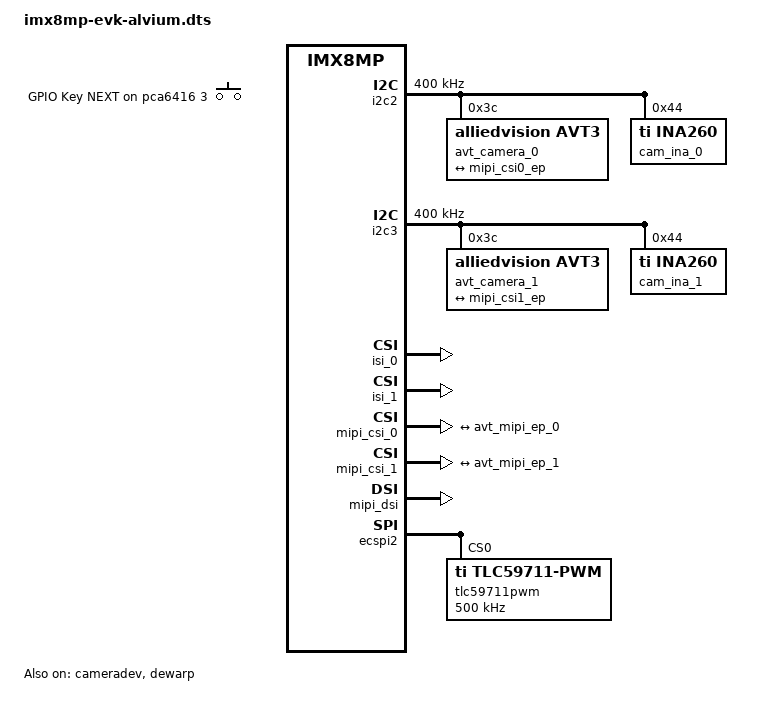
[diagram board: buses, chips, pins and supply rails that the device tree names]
// SPDX-License-Identifier: (GPL-2.0+ OR MIT)
/*
 * Copyright 2020-2021 NXP
 * Copyright 2020-2021 Avnet EMG GmbH                                                                                                                                                                                                                                                                                                                                                                                                                                                                                                                                                           
 *
 * This program is free software; you can redistribute it and/or
 * modify it under the terms of the GNU General Public License
 * as published by the Free Software Foundation; either version 2
 * of the License, or (at your option) any later version.
 *
 * This program is distributed in the hope that it will be useful,
 * but WITHOUT ANY WARRANTY; without even the implied warranty of
 * MERCHANTABILITY or FITNESS FOR A PARTICULAR PURPOSE.  See the
 * GNU General Public License for more details.
 */

#include "imx8mp-evk.dts"

#include "mipi_timing.h"

&i2c2 {
	clock-frequency = <400000>;

	/delete-node/ov5640_mipi@3c;

	avt_camera_0: avt_camera_0@3c {
		compatible = "alliedvision,avt3"; /*"alliedvision,avt_csi2";*/
		reg = <0x3c>;
		pinctrl-names = "default";
		pinctrl-0 = <&pinctrl_csi0_pwn>, <&pinctrl_csi0_rst>, <&pinctrl_csi_mclk>;
		clocks = <&clk IMX8MP_CLK_IPP_DO_CLKO2>;
		clock-names = "csi_mclk";
		assigned-clocks = <&clk IMX8MP_CLK_IPP_DO_CLKO2>;
		assigned-clock-parents = <&clk IMX8MP_CLK_24M>;
		assigned-clock-rates = <24000000>;
		mipi_csi;
		csi_id = <0>;
		/*pwn-gpios = <&gpio2 11 GPIO_ACTIVE_HIGH>;
		rst-gpios = <&gpio1 6 GPIO_ACTIVE_LOW>;*/
		mclk = <24000000>;
		mclk_source = <0>;
		/*powerdown-gpios = <&gpio2 11 GPIO_ACTIVE_HIGH>;
		reset-gpios = <&gpio1 6 GPIO_ACTIVE_LOW>;*/

		bcrm_wait_timeout = <5111>; 
		streamon_delay = <80>; 
		x_force_reset_on_init;

		avt-ignore-yuv420_8_leg_avail;
		avt-ignore-yuv420_8_avail;
		avt-ignore-yuv420_10_avail;
		avt-ignore-yuv420_8_csps_avail;
		avt-ignore-yuv420_10_csps_avail;
		x_avt-ignore-yuv422_8_avail;
		avt-ignore-yuv422_10_avail;
		x_avt-ignore-rgb888_avail;
		avt-ignore-rgb666_avail;
		avt-ignore-rgb565_avail;
		avt-ignore-rgb555_avail;
		avt-ignore-rgb444_avail;
		avt-ignore-raw6_avail;
		avt-ignore-raw7_avail;
		x_avt-ignore-raw8_avail;
		x_avt-ignore-raw10_avail;
		avt-ignore-raw12_avail;
		avt-ignore-raw14_avail;

		status = "okay";

		port {
			avt_mipi_ep_0: endpoint {
				data-lanes = <AVT_CAMERA_DL0 AVT_CAMERA_DL1 AVT_CAMERA_DL2 AVT_CAMERA_DL3>;
				clock-lanes = <0>;
				link-frequencies = /bits/ 64 <AVT_LINK_FREQUENCY>;
				/*max-pixel-frequency = /bits/ 64 <266000000>;*/
				remote-endpoint = <&mipi_csi0_ep>;
			};
		};
	};

	cam_ina_0: power_sensor0@44 {
		compatible = "ti,ina260";
		status = "okay";
		reg = <0x44>;
		shunt-resistor = <0x1194>;
	};
};

&i2c3 {

	clock-frequency = <400000>;
	pinctrl-names = "default";
	pinctrl-0 = <&pinctrl_i2c3>;
	status = "okay";

	/delete-node/ov5640_mipi@3c;

	avt_camera_1@3c {
		status = "okay";
		compatible = "alliedvision,avt3"; /*"alliedvision,avt_csi2";*/
		reg = <0x3c>;
		/*powerdown-gpios = <&gpio2 11 GPIO_ACTIVE_HIGH>;
		reset-gpios = <&gpio1 6 GPIO_ACTIVE_LOW>;*/
		clocks = <&clk IMX8MP_CLK_IPP_DO_CLKO2>;
		clock-names = "csi_mclk";
		assigned-clocks = <&clk IMX8MP_CLK_IPP_DO_CLKO2>;
		assigned-clock-parents = <&clk IMX8MP_CLK_24M>;
		assigned-clock-rates = <24000000>;
		mipi_csi;
		csi_id = <1>;

		mclk = <24000000>;
		mclk_source = <0>;
		bcrm_wait_timeout = <5222>; 
		streamon_delay = <80>; 
		x_force_reset_on_init;

		avt-ignore-yuv420_8_leg_avail;
		avt-ignore-yuv420_8_avail;
		avt-ignore-yuv420_10_avail;
		avt-ignore-yuv420_8_csps_avail;
		avt-ignore-yuv420_10_csps_avail;
		x_avt-ignore-yuv422_8_avail;
		avt-ignore-yuv422_10_avail;
		x_avt-ignore-rgb888_avail;
		avt-ignore-rgb666_avail;
		avt-ignore-rgb565_avail;
		avt-ignore-rgb555_avail;
		avt-ignore-rgb444_avail;
		avt-ignore-raw6_avail;
		avt-ignore-raw7_avail;
		x_avt-ignore-raw8_avail;
		x_avt-ignore-raw10_avail;
		avt-ignore-raw12_avail;
		avt-ignore-raw14_avail;

		port {
			avt_mipi_ep_1: endpoint {
				data-lanes = <AVT_CAMERA_DL0 AVT_CAMERA_DL1 AVT_CAMERA_DL2 AVT_CAMERA_DL3>;
				clock-lanes = <0>;
				link-frequencies = /bits/ 64 <AVT_LINK_FREQUENCY>;
				/*max-pixel-frequency = /bits/ 64 <266000000>;*/
				remote-endpoint = <&mipi_csi1_ep>;
			};
		};
	};

	cam_ina_1: power_sensor1@44 {
		compatible = "ti,ina260";
		status = "okay";
		reg = <0x44>;
		shunt-resistor = <0x1194>;
	};
};

&cameradev {
	status = "okay";
};

&isi_0 {
	/*assigned-clock-rates = <750000000>, <500000000>;*/
	status = "okay";
	disable_resolution_check;
    dma-coherent;
};

&isi_1 {
	/*assigned-clock-rates = <750000000>, <500000000>;*/
	status = "okay";
	disable_resolution_check;
    dma-coherent;
};

&isp_0 {
	status = "disabled";
    dma-coherent;
};

&isp_1 {
	status = "disabled";
    dma-coherent;
};


&dewarp {
	status = "okay";
};

&mipi_csi_0 {
	status = "okay";
	clock-frequency = <AVT_LINK_FREQUENCY>;
	/*assigned-clock-parents = <&clk IMX8MP_SYS_PLL1_266M>;*/
	assigned-clock-rates = <CSI_ASSIGNED_CLOCK_RATES>;

	port@0 {
		mipi_csi0_ep: endpoint {
			remote-endpoint = <&avt_mipi_ep_0>;
			data-lanes = <CSI_DATA_LANES>;
			csis-hs-settle = <CSIS_HS_SETTLE>;
			csis-clk-settle = <CSIS_CLK_SETTLE>;
			csis-wclk;
			/*swap_dpdn_clk;
			swap_dpdn_dat;
			data_lane_hs_rx_delay = <0>;
			clk_lane_hs_rx_delay = <0>;*/
		};
	};
};

&mipi_csi_1 {
	status = "okay";
	clock-frequency = <AVT_LINK_FREQUENCY>;
	assigned-clock-rates = <CSI_ASSIGNED_CLOCK_RATES>;

	port@1 {
		mipi_csi1_ep: endpoint {
			remote-endpoint = <&avt_mipi_ep_1>;
			data-lanes = <CSI_DATA_LANES>;
			csis-hs-settle = <CSIS_HS_SETTLE>;
			csis-clk-settle = <CSIS_CLK_SETTLE>;
			csis-wclk;
			/*swap_dpdn_clk;
			swap_dpdn_dat;
			data_lane_hs_rx_delay = <0>;
			clk_lane_hs_rx_delay = <0>;*/
		};
	};
};

&mipi_dsi {
	status = "okay";
};


/ {
	gpio-keys {
		compatible = "gpio-keys";
		autorepeat;

		up {
			label = "GPIO Key NEXT";
			linux,code = <103>;
			gpios = <&pca6416 3 GPIO_ACTIVE_HIGH>;
		};
	};
};


&ecspi2 {
	/*
	#address-cells = <1>;
	#size-cells = <0>;
	fsl,spi-num-chipselects = <1>;
	pinctrl-names = "default";
	pinctrl-0 = <&pinctrl_ecspi2 &pinctrl_ecspi2_cs>;
	cs-gpios = <&gpio5 13 GPIO_ACTIVE_LOW>;
	*/
	status = "okay";

	/delete-node/spidev1;

	tlc59711pwm:tlc59711pwm@0 {
		reg = <0>;
		compatible = "ti,tlc59711-pwm";
		spi-max-frequency = <500000>;
		status = "okay";
	};

	tlc5947pwm:tlc5947pwm@0 {             
		reg = <0x00>;           
		compatible = "ti,tlc5947-pwm";
		spi-max-frequency = <20000000>;
		xlat-gpio = <&pca6416 13 GPIO_ACTIVE_HIGH>; /* /sys/class/gpio/gpio509 */     
		blank-gpio = <&pca6416 14 GPIO_ACTIVE_LOW>;      /* /sys/class/gpio/gpio509 */
		status = "disabled";         
	};    

	/*
	spidev1: spi@0 {
			reg = <0>;
			compatible = "rohm,dh2228fv";
			spi-max-frequency = <500000>;
	};
	*/
};

/*
A table for MIPI clock frequency and register setting of HSSETTLE[7:0] and CLKSETTLECTL[1:0] had been missed in iMX7D reference manual.

MIPI Serial clock Frequency (MHz)	HSSETTLE[7:0]	CLKSETTLECTL[1:0]
1500	                                33              0
1490~1450	                            32              0
1440~1410	                            31              0
1400~1360	                            30              0
1350~1320	                            29              0
1310~1270	                            28              0
1260~1230	                            27              0
1220~1180	                            26              0
1170~1130	                            25              0
1120~1090	                            24              0
1080~1040	                            23              0
1030~1000	                            22              0
990~950	                                21              0
940~910	                                20              0
900~860	                                19              0
850~820	                                18              0
810~770	                                17              0
760~730	                                16              0
720~680	                                15              0
670~640	                                14              0
630~590	                                13              0
580~550	                                12              0
540~500	                                11              0
490~460	                                10              0
450~410	                                 9              0
400~370 	                             8              0
360~320 								 7              0
310~280	                                 6              0
270~230	                                 5              0
220~190	                                 4              0
180~140 	                             3              0
130~100  	                             2              0
90~80	                                 1              0
 */
